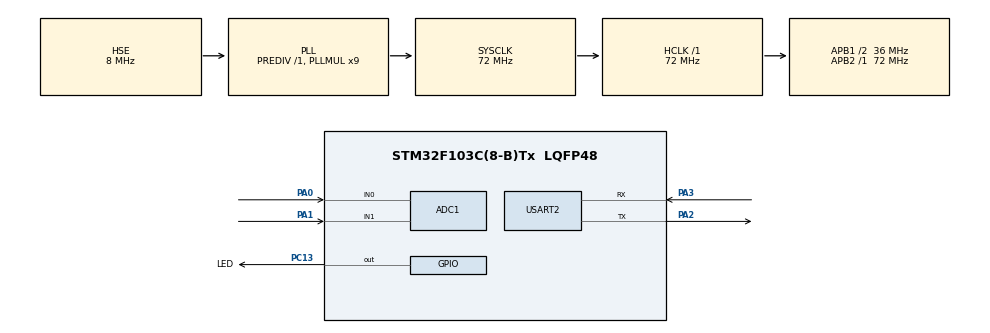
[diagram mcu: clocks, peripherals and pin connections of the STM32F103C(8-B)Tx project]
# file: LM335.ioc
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ADC1.Channel-0\#ChannelRegularConversion=ADC_CHANNEL_0
ADC1.Channel-1\#ChannelRegularConversion=ADC_CHANNEL_1
ADC1.Channel-2\#ChannelRegularConversion=ADC_CHANNEL_TEMPSENSOR
ADC1.ContinuousConvMode=ENABLE
ADC1.NbrOfConversion=3
ADC1.NbrOfConversionFlag=1
ADC1.Rank-0\#ChannelRegularConversion=1
ADC1.Rank-1\#ChannelRegularConversion=2
ADC1.Rank-2\#ChannelRegularConversion=3
ADC1.SamplingTime-0\#ChannelRegularConversion=ADC_SAMPLETIME_239CYCLES_5
ADC1.SamplingTime-1\#ChannelRegularConversion=ADC_SAMPLETIME_239CYCLES_5
ADC1.SamplingTime-2\#ChannelRegularConversion=ADC_SAMPLETIME_239CYCLES_5
ADC1.master=1
Dma.ADC1.0.Direction=DMA_PERIPH_TO_MEMORY
Dma.ADC1.0.Instance=DMA1_Channel1
Dma.ADC1.0.MemDataAlignment=DMA_MDATAALIGN_HALFWORD
Dma.ADC1.0.MemInc=DMA_MINC_ENABLE
Dma.ADC1.0.Mode=DMA_CIRCULAR
Dma.ADC1.0.PeriphDataAlignment=DMA_PDATAALIGN_HALFWORD
Dma.ADC1.0.PeriphInc=DMA_PINC_DISABLE
Dma.ADC1.0.Priority=DMA_PRIORITY_LOW
Dma.Request0=ADC1
Mcu.Family=STM32F1
Mcu.Name=STM32F103C(8-B)Tx
Mcu.Package=LQFP48
NVIC.ADC1_2_IRQn=true\:0\:0\:false\:false\:true\:true\:true
NVIC.DMA1_Channel1_IRQn=true\:0\:0\:false\:false\:true\:false\:true
NVIC.PriorityGroup=NVIC_PRIORITYGROUP_4
PA0-WKUP.Signal=ADCx_IN0
PA1.Signal=ADCx_IN1
PA13.Mode=Serial_Wire
PA13.Signal=SYS_JTMS-SWDIO
PA14.Mode=Serial_Wire
PA14.Signal=SYS_JTCK-SWCLK
PA2.Mode=Asynchronous
PA2.Signal=USART2_TX
PA3.Mode=Asynchronous
PA3.Signal=USART2_RX
PC13-TAMPER-RTC.GPIO_Label=LED
PC13-TAMPER-RTC.Signal=GPIO_Output
PD0-OSC_IN.Mode=HSE-External-Clock-Source
PD0-OSC_IN.Signal=RCC_OSC_IN
PD1-OSC_OUT.Mode=HSE-External-Clock-Source
PD1-OSC_OUT.Signal=RCC_OSC_OUT
ProjectManager.HeapSize=0x200
ProjectManager.StackSize=0x400
ProjectManager.TargetToolchain=MDK-ARM V5.27
RCC.ADCPresc=RCC_ADCPCLK2_DIV6
RCC.AHBFreq_Value=72000000
RCC.APB1CLKDivider=RCC_HCLK_DIV2
RCC.APB1Freq_Value=36000000
RCC.APB1TimFreq_Value=72000000
RCC.APB2Freq_Value=72000000
RCC.APB2TimFreq_Value=72000000
RCC.HCLKFreq_Value=72000000
RCC.PLLMUL=RCC_PLL_MUL9
RCC.PLLSourceVirtual=RCC_PLLSOURCE_HSE
RCC.SYSCLKFreq_VALUE=72000000
RCC.SYSCLKSource=RCC_SYSCLKSOURCE_PLLCLK
RCC.USBFreq_Value=72000000
SH.ADCx_IN0.0=ADC1_IN0,IN0
SH.ADCx_IN1.0=ADC1_IN1,IN1
USART2.VirtualMode=VM_ASYNC
VP_ADC1_TempSens_Input.Mode=IN-TempSens
board=custom

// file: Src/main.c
/* USER CODE BEGIN Header */
/**
  ******************************************************************************
  * @file           : main.c
  * @brief          : Main program body
  ******************************************************************************
  * @attention
  *
  * <h2><center>&copy; Copyright (c) 2020 STMicroelectronics.
  * All rights reserved.</center></h2>
  *
  * This software component is licensed by ST under BSD 3-Clause license,
  * the "License"; You may not use this file except in compliance with the
  * License. You may obtain a copy of the License at:
  *                        opensource.org/licenses/BSD-3-Clause
  *
  ******************************************************************************
  */
/* USER CODE END Header */

#include "main.h"
#include "adc.h"
#include "dma.h"
#include "usart.h"
#include "gpio.h"

/* USER CODE BEGIN Includes */
#include "MEDIAN_FILTER.h"
/* USER CODE END Includes */

/* USER CODE BEGIN PV */
volatile uint16_t ADC_Value = 0x00;

float Voltage = 0.0f;
float DegreeC = 0.0f;
float ATM = 0.0f;
volatile uint16_t adc_val_from_buffer = 0;
uint16_t adc_buffer[4];
/* USER CODE END PV */

void SystemClock_Config(void);
/* USER CODE BEGIN PFP */
float mapFloat(float x, float in_min, float in_max, float out_min, float out_max)
{
  return (x - in_min) * (out_max - out_min) / (in_max - in_min) + out_min;
}

/* USER CODE END PFP */

int main(void)
{

  /* MCU Configuration--------------------------------------------------------*/

  /* Reset of all peripherals, Initializes the Flash interface and the Systick. */
  HAL_Init();

  /* Configure the system clock */
  SystemClock_Config();

  /* Initialize all configured peripherals */
  MX_GPIO_Init();
  MX_DMA_Init();
  MX_ADC1_Init();
  MX_USART2_UART_Init();
  /* USER CODE BEGIN 2 */
	HAL_Delay(100);
	HAL_ADCEx_Calibration_Start(&hadc1); // Calibrate ADC
	HAL_Delay(5);

	HAL_ADC_Start_DMA(&hadc1,(uint32_t *)adc_buffer, 3);
  /* USER CODE END 2 */

  /* Infinite loop */
  /* USER CODE BEGIN WHILE */
  while (1)
  {
		if(adc_buffer[0] != adc_val_from_buffer)
		{
			adc_val_from_buffer = adc_buffer[0];
			Voltage = (float)MedianFilter(adc_val_from_buffer) * (3.330f/4096.0f); // Filter with Median Filter RAW ADC Value and convert to Voltage
			DegreeC = (Voltage * 100.0f) - 273.15f; // Kelvin to Degree C
			//ATM = mapFloat(Voltage, 0.5f, 4.5f, 0.0f, 400.0f);
		}

    /* USER CODE END WHILE */

  }
}

void SystemClock_Config(void)
{
  RCC_OscInitTypeDef RCC_OscInitStruct = {0};
  RCC_ClkInitTypeDef RCC_ClkInitStruct = {0};
  RCC_PeriphCLKInitTypeDef PeriphClkInit = {0};

  /** Initializes the CPU, AHB and APB busses clocks
  */
  RCC_OscInitStruct.OscillatorType = RCC_OSCILLATORTYPE_HSE;
  RCC_OscInitStruct.HSEState = RCC_HSE_BYPASS;
  RCC_OscInitStruct.HSEPredivValue = RCC_HSE_PREDIV_DIV1;
  RCC_OscInitStruct.HSIState = RCC_HSI_ON;
  RCC_OscInitStruct.PLL.PLLState = RCC_PLL_ON;
  RCC_OscInitStruct.PLL.PLLSource = RCC_PLLSOURCE_HSE;
  RCC_OscInitStruct.PLL.PLLMUL = RCC_PLL_MUL9;
  if (HAL_RCC_OscConfig(&RCC_OscInitStruct) != HAL_OK)
  {
    Error_Handler();
  }
  /** Initializes the CPU, AHB and APB busses clocks
  */
  RCC_ClkInitStruct.ClockType = RCC_CLOCKTYPE_HCLK|RCC_CLOCKTYPE_SYSCLK
                              |RCC_CLOCKTYPE_PCLK1|RCC_CLOCKTYPE_PCLK2;
  RCC_ClkInitStruct.SYSCLKSource = RCC_SYSCLKSOURCE_PLLCLK;
  RCC_ClkInitStruct.AHBCLKDivider = RCC_SYSCLK_DIV1;
  RCC_ClkInitStruct.APB1CLKDivider = RCC_HCLK_DIV2;
  RCC_ClkInitStruct.APB2CLKDivider = RCC_HCLK_DIV1;

  if (HAL_RCC_ClockConfig(&RCC_ClkInitStruct, FLASH_LATENCY_2) != HAL_OK)
  {
    Error_Handler();
  }
  PeriphClkInit.PeriphClockSelection = RCC_PERIPHCLK_ADC;
  PeriphClkInit.AdcClockSelection = RCC_ADCPCLK2_DIV6;
  if (HAL_RCCEx_PeriphCLKConfig(&PeriphClkInit) != HAL_OK)
  {
    Error_Handler();
  }
}

void Error_Handler(void)
{
}

/************************ (C) COPYRIGHT STMicroelectronics *****END OF FILE****/
